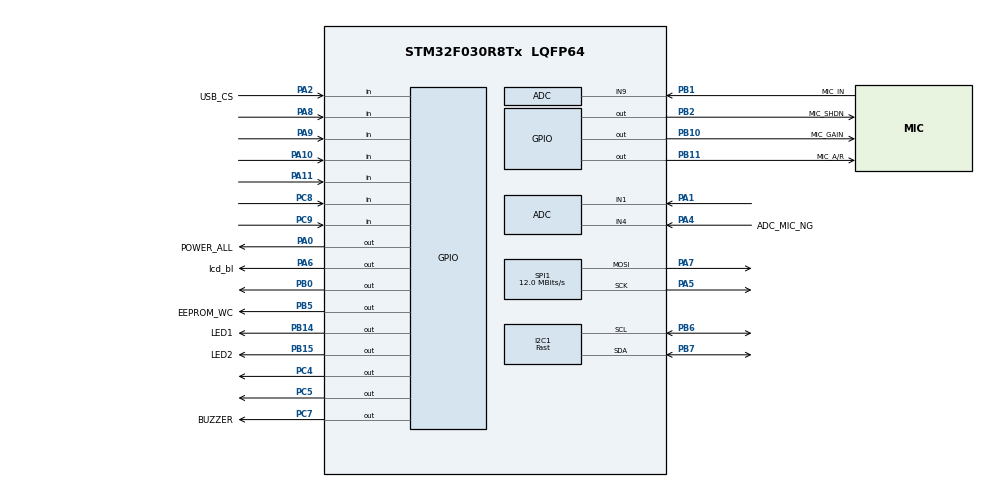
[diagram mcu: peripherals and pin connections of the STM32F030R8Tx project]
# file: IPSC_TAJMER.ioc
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ADC.SamplingTime=ADC_SAMPLETIME_28CYCLES_5
I2C1.I2C_Speed_Mode=I2C_Fast
I2C1.Timing=0x0000020B
Mcu.Family=STM32F0
Mcu.Name=STM32F030R8Tx
Mcu.Package=LQFP64
NVIC.SPI1_IRQn=true\:0\:0\:false\:false\:true\:true\:true\:true
NVIC.TIM6_IRQn=true\:0\:0\:false\:false\:true\:true\:true\:true
PA0.GPIO_Label=POWER_ALL
PA0.PinState=GPIO_PIN_SET
PA0.Signal=GPIO_Output
PA1.Mode=IN1
PA1.Signal=ADC_IN1
PA10.GPIO_PuPd=GPIO_PULLUP
PA10.Signal=GPIO_Input
PA11.GPIO_PuPd=GPIO_PULLUP
PA11.Signal=GPIO_Input
PA13.Mode=Serial_Wire
PA13.Signal=SYS_SWDIO
PA14.Mode=Serial_Wire
PA14.Signal=SYS_SWCLK
PA2.GPIO_Label=USB_CS
PA2.GPIO_PuPd=GPIO_PULLDOWN
PA2.Signal=GPIO_Input
PA4.GPIO_Label=ADC_MIC_NG
PA4.Mode=IN4
PA4.Signal=ADC_IN4
PA5.Mode=TX_Only_Simplex_Unidirect_Master
PA5.Signal=SPI1_SCK
PA6.GPIO_Label=lcd_bl
PA6.Signal=GPIO_Output
PA7.Mode=TX_Only_Simplex_Unidirect_Master
PA7.Signal=SPI1_MOSI
PA8.GPIO_PuPd=GPIO_PULLUP
PA8.Signal=GPIO_Input
PA9.GPIO_PuPd=GPIO_PULLUP
PA9.Signal=GPIO_Input
PB0.GPIO_PuPd=GPIO_PULLUP
PB0.Signal=GPIO_Output
PB1.GPIO_Label=MIC_IN
PB1.Mode=IN9
PB1.Signal=ADC_IN9
PB10.GPIO_Label=MIC_GAIN
PB10.GPIO_PuPd=GPIO_PULLUP
PB10.PinState=GPIO_PIN_SET
PB10.Signal=GPIO_Output
PB11.GPIO_Label=MIC_A/R
PB11.Signal=GPIO_Output
PB14.GPIO_Label=LED1
PB14.Signal=GPIO_Output
PB15.GPIO_Label=LED2
PB15.Signal=GPIO_Output
PB2.GPIO_Label=MIC_SHDN
PB2.GPIO_PuPd=GPIO_PULLUP
PB2.PinState=GPIO_PIN_SET
PB2.Signal=GPIO_Output
PB5.GPIO_Label=EEPROM_WC
PB5.Signal=GPIO_Output
PB6.GPIO_Pu=GPIO_PULLUP
PB6.Mode=I2C
PB6.Signal=I2C1_SCL
PB7.GPIO_Pu=GPIO_PULLUP
PB7.Mode=I2C
PB7.Signal=I2C1_SDA
PC4.Signal=GPIO_Output
PC5.Signal=GPIO_Output
PC7.GPIO_Label=BUZZER
PC7.Signal=GPIO_Output
PC8.GPIO_PuPd=GPIO_PULLUP
PC8.Signal=GPIO_Input
PC9.GPIO_PuPd=GPIO_PULLUP
PC9.Signal=GPIO_Input
PF0-OSC_IN.Mode=HSE-External-Oscillator
PF0-OSC_IN.Signal=RCC_OSC_IN
PF1-OSC_OUT.Mode=HSE-External-Oscillator
PF1-OSC_OUT.Signal=RCC_OSC_OUT
ProjectManager.HeapSize=0x200
ProjectManager.StackSize=0x400
ProjectManager.TargetToolchain=STM32CubeIDE
RCC.AHBFreq_Value=48000000
RCC.APB1Freq_Value=48000000
RCC.APB1TimFreq_Value=48000000
RCC.HCLKFreq_Value=48000000
RCC.HSE_VALUE=16000000
RCC.PLLMUL=RCC_PLL_MUL3
RCC.PLLSourceVirtual=RCC_PLLSOURCE_HSE
RCC.SYSCLKFreq_VALUE=48000000
RCC.SYSCLKSource=RCC_SYSCLKSOURCE_PLLCLK
SPI1.BaudRatePrescaler=SPI_BAUDRATEPRESCALER_4
SPI1.CalculateBaudRate=12.0 MBits/s
SPI1.DataSize=SPI_DATASIZE_8BIT
SPI1.Direction=SPI_DIRECTION_2LINES
SPI1.Mode=SPI_MODE_MASTER
SPI1.VirtualType=VM_MASTER
TIM6.Period=16000-1
TIM6.Prescaler=4801
VP_TIM6_VS_ClockSourceINT.Mode=Enable_Timer
board=custom

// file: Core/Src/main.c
/* USER CODE BEGIN Header */
/**
 ******************************************************************************
 * @file           : main.c
 * @brief          : Main program body
 ******************************************************************************
 * @attention
 *
 * Copyright (c) 2022 STMicroelectronics.
 * All rights reserved.
 *
 * This software is licensed under terms that can be found in the LICENSE file
 * in the root directory of this software component.
 * If no LICENSE file comes with this software, it is provided AS-IS.
 *
 ******************************************************************************
 */
/* USER CODE END Header */
#include "main.h"
#include "adc.h"
#include "i2c.h"
#include "spi.h"
#include "tim.h"
#include "gpio.h"

void SystemClock_Config(void);

/* USER CODE BEGIN 0 */

int SampleSoundG() {
	uint32_t start_millis = Millis();  // Start of sample window
	// the peak to peak reading will be the total loudness change across the
	// sample wiindow!
	int peak_to_peak = 0; // peak_to_peak level
	int sample = 0;
	int signal_max = 0;
	int signal_min = 4096;

	// collect data for duration of g_sample_window
	while (Millis() - start_millis < 50) {
		ADC1->CHSELR = ADC_CHSELR_CHSEL9;
		ADC1->CR |= ADC_CR_ADSTART;
		while (ADC1->CR & ADC_CR_ADSTART)
			;
		sample = ADC1->DR;

		if (sample < 4096) // toss out spurious readings
				{
			if (sample > signal_max) {
				signal_max = sample; // save just the max levels
			} else if (sample < signal_min) {
				signal_min = sample; // save just the min levels
			}
		}
	}
	peak_to_peak = signal_max - signal_min; // max - min = peak-peak amplitude
	return (peak_to_peak);
}
/* USER CODE END 0 */

int main(void)
{

  /* MCU Configuration--------------------------------------------------------*/

  /* Reset of all peripherals, Initializes the Flash interface and the Systick. */
  LL_APB1_GRP2_EnableClock(LL_APB1_GRP2_PERIPH_SYSCFG);
  LL_APB1_GRP1_EnableClock(LL_APB1_GRP1_PERIPH_PWR);

  /* Configure the system clock */
  SystemClock_Config();

  /* Initialize all configured peripherals */
  MX_GPIO_Init();
  MX_ADC_Init();
  MX_SPI1_Init();
  MX_I2C1_Init();
  MX_TIM6_Init();
  /* USER CODE BEGIN 2 */

	SysTick_Config(SystemCoreClock / 1000);

	LL_SPI_Enable(SPI1);

	LCD_init();
	LCD_BL_ON
	;

	LCD_print("Elo mordo", 0, 0);
	Delay_ms(1000);
	ADC1->CR = ADC_CR_ADCAL;
	while (ADC1->CR & ADC_CR_ADCAL)
		;

	ADC1->CFGR1 = ADC_CFGR1_OVRMOD;
	ADC1->CFGR2 = ADC_CFGR2_CKMODE_1;
	ADC1->SMPR = ADC_SMPR_SMP;
	ADC1->CHSELR = ADC_CHSELR_CHSEL16;
	ADC->CCR = ADC_CCR_VREFEN | ADC_CCR_TSEN;
	ADC1->CR = ADC_CR_ADEN;
	LCD_clrScr();

	while (!(ADC1->ISR & 1))
		;

	menu_refresh();

  /* USER CODE END 2 */

  /* Infinite loop */
  /* USER CODE BEGIN WHILE */
	while (1) {
		//if( BUTTON_START/*||BUTTON_3||BUTTON_START||BUTTON_STOP ||BUTTON_1) {BUZZ_ON;}
		//	else {BUZZ_OFF;}
		/*
		 if(BUTTON_MAIN ) {last_shoot = 0; last_shootG = 0;}*/
		//if(BUTTON_MAIN ) LL_GPIO_ResetOutputPin(POWER_ALL_GPIO_Port, POWER_ALL_Pin);
		 key_next_press();
		 key_prev_press();
		 key_esc_press();
		 key_ok_press();
		 key_start_press();
		 key_stop_press();

		 menu_refresh();

    /* USER CODE END WHILE */

	}
}

void SystemClock_Config(void)
{
  LL_FLASH_SetLatency(LL_FLASH_LATENCY_1);
  while(LL_FLASH_GetLatency() != LL_FLASH_LATENCY_1)
  {
  }
  LL_RCC_HSE_Enable();

   /* Wait till HSE is ready */
  while(LL_RCC_HSE_IsReady() != 1)
  {

  }
  LL_RCC_HSI_Enable();

   /* Wait till HSI is ready */
  while(LL_RCC_HSI_IsReady() != 1)
  {

  }
  LL_RCC_HSI_SetCalibTrimming(16);
  LL_RCC_HSI14_Enable();

   /* Wait till HSI14 is ready */
  while(LL_RCC_HSI14_IsReady() != 1)
  {

  }
  LL_RCC_HSI14_SetCalibTrimming(16);
  LL_RCC_PLL_ConfigDomain_SYS(LL_RCC_PLLSOURCE_HSE_DIV_1, LL_RCC_PLL_MUL_3);
  LL_RCC_PLL_Enable();

   /* Wait till PLL is ready */
  while(LL_RCC_PLL_IsReady() != 1)
  {

  }
  LL_RCC_SetAHBPrescaler(LL_RCC_SYSCLK_DIV_1);
  LL_RCC_SetAPB1Prescaler(LL_RCC_APB1_DIV_1);
  LL_RCC_SetSysClkSource(LL_RCC_SYS_CLKSOURCE_PLL);

   /* Wait till System clock is ready */
  while(LL_RCC_GetSysClkSource() != LL_RCC_SYS_CLKSOURCE_STATUS_PLL)
  {

  }
  LL_Init1msTick(48000000);
  LL_SetSystemCoreClock(48000000);
  LL_RCC_HSI14_EnableADCControl();
  LL_RCC_SetI2CClockSource(LL_RCC_I2C1_CLKSOURCE_HSI);
}

void Error_Handler(void)
{
	__disable_irq();
	while (1) {
	}
}
